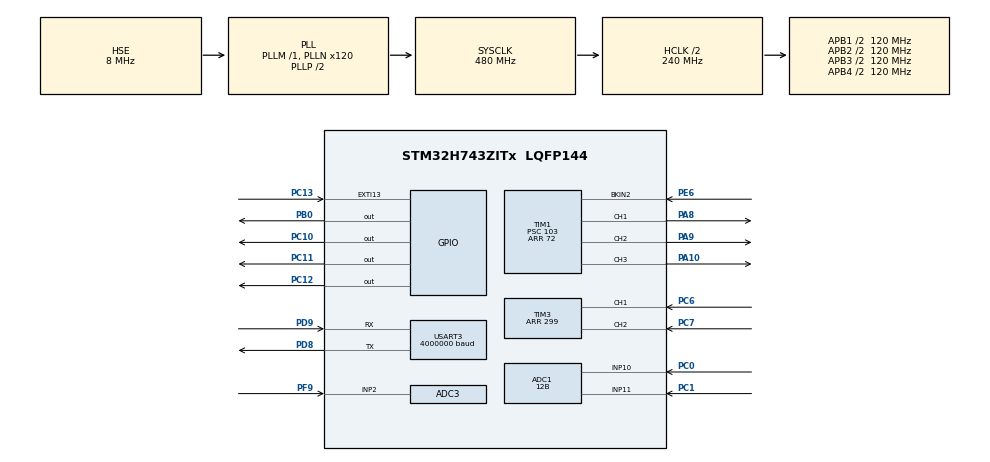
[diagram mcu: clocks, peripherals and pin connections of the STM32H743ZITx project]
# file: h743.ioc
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VP_STMicroelectronics.X-CUBE-AI_VS_ArtificialOoIntelligenceJjXAaCUBEAaAI_6.0.0.Mode=ArtificialOoIntelligenceJjXAaCUBEAaAI
Dma.USART3_RX.1.Mode=DMA_CIRCULAR
STMicroelectronics.X-CUBE-AI.6.0.0.MaximumSizeOfInputLayer=AI_NETWORK_IN_1_SIZE_BYTES
SH.ADCx_INP10.0=ADC1_INP10,IN10-Single-Ended
RCC.PLL2_VCI_Range-AdvancedSettings=RCC_PLL2VCIRANGE_0
NVIC.DMA1_Stream2_IRQn=true\:0\:0\:false\:false\:true\:false\:true
PC12.Signal=GPIO_Output
VP_STMicroelectronics.X-CUBE-AI_VS_DeviceJjApplication_6.0.0.Mode=DeviceJjApplication
Dma.ADC3.2.EventEnable=DISABLE
STMicroelectronics.X-CUBE-AI.6.0.0.StackSize=0x4000
RCC.SYSCLKSource=RCC_SYSCLKSOURCE_PLLCLK
USART3.VirtualMode-Asynchronous=VM_ASYNC
CORTEX_M7.Enable-Cortex_Memory_Protection_Unit_Region0_Settings=MPU_REGION_ENABLE
USART3.BaudRate=4000000
Dma.USART3_RX.1.Instance=DMA1_Stream1
Dma.ADC1.0.Direction=DMA_PERIPH_TO_MEMORY
STMicroelectronics.X-CUBE-AI.6.0.0.ValidationOutputFileHistory-b3ff6f7a2238a639f54eb102f1bc177b658880042a605020be7993b95e4e2cad=C\:\\Users\\Omkar\\Desktop\\Python\\validateY.csv
PC7.Signal=S_TIM3_CH2
PD8.Signal=USART3_TX
Dma.ADC1.0.MemDataAlignment=DMA_MDATAALIGN_WORD
NVIC.EXTI15_10_IRQn=true\:0\:0\:false\:true\:true\:2\:true\:true
TIM1.LockLevel=TIM_LOCKLEVEL_1
RCC.DIVM2=1
RCC.DIVM1=1
Dma.USART3_RX.1.SignalID=NONE
TIM1.Break2Polarity=TIM_BREAK2POLARITY_LOW
Dma.USART3_RX.1.SyncPolarity=HAL_DMAMUX_SYNC_NO_EVENT
Dma.USART3_RX.1.Priority=DMA_PRIORITY_LOW
TIM1.Channel-PWM\ Generation1\ CH1=TIM_CHANNEL_1
Dma.ADC1.0.PeriphInc=DMA_PINC_DISABLE
Dma.ADC3.2.Direction=DMA_PERIPH_TO_MEMORY
PC7.GPIO_ModeDefaultPP=GPIO_MODE_AF_PP
PA8.Signal=S_TIM1_CH1
VP_TIM1_VS_ClockSourceINT.Mode=Internal
ADC1.SamplingTime-0\#ChannelRegularConversion=ADC_SAMPLETIME_1CYCLE_5
Mcu.Package=LQFP144
Dma.USART3_RX.1.FIFOMode=DMA_FIFOMODE_DISABLE
Dma.USART3_RX.1.Direction=DMA_PERIPH_TO_MEMORY
ADC3.Rank-0\#ChannelRegularConversion=1
PA10.Signal=S_TIM1_CH3
PC6.GPIO_PuPd=GPIO_NOPULL
PC14-OSC32_IN\ (OSC32_IN).Mode=LSE-External-Oscillator
RCC.APB4Freq_Value=120000000
Dma.ADC1.0.FIFOMode=DMA_FIFOMODE_DISABLE
TIM1.Period=72
PE6.GPIO_PuPd=GPIO_PULLUP
PH0-OSC_IN\ (PH0).Mode=HSE-External-Oscillator
STMicroelectronics.X-CUBE-AI.6.0.0.ModelCompression-b3ff6f7a2238a639f54eb102f1bc177b658880042a605020be7993b95e4e2cad=1
CORTEX_M7.IsBufferable-Cortex_Memory_Protection_Unit_Region0_Settings=MPU_ACCESS_BUFFERABLE
Dma.ADC1.0.EventEnable=DISABLE
Dma.ADC1.0.Instance=DMA1_Stream0
RCC.DIVQ1=4
ADC1.Rank-0\#ChannelRegularConversion=1
Dma.ADC3.2.SyncEnable=DISABLE
TIM3.AutoReloadPreload=TIM_AUTORELOAD_PRELOAD_ENABLE
Dma.ADC1.0.SyncRequestNumber=1
TIM1.CounterMode=TIM_COUNTERMODE_CENTERALIGNED1
ADC1.OffsetNumber-0\#ChannelRegularConversion=ADC_OFFSET_NONE
PC13.Signal=GPXTI13
STMicroelectronics.X-CUBE-AI.6.0.0.MaximumSizeOfOutputLayer=AI_NETWORK_OUT_1_SIZE_BYTES
PC6.Signal=S_TIM3_CH1
Dma.USART3_RX.1.MemDataAlignment=DMA_MDATAALIGN_BYTE
PC0.Signal=ADCx_INP10
ADC3.Resolution=ADC_RESOLUTION_12B
Dma.ADC3.2.SyncSignalID=NONE
RCC.Tim2Mul=2
TIM1.AutoReloadPreload=TIM_AUTORELOAD_PRELOAD_ENABLE
STMicroelectronics.X-CUBE-AI.6.0.0.ModelHashList=b3ff6f7a2238a639f54eb102f1bc177b658880042a605020be7993b95e4e2cad
Dma.ADC1.0.SignalID=NONE
Dma.ADC1.0.Priority=DMA_PRIORITY_LOW
Dma.USART3_RX.1.EventEnable=DISABLE
PA9.Signal=S_TIM1_CH2
RCC.DIVN2=19
TIM1.Channel-PWM\ Generation2\ CH2=TIM_CHANNEL_2
RCC.DIVN1=120
Dma.ADC3.2.PeriphDataAlignment=DMA_PDATAALIGN_WORD
STMicroelectronics.X-CUBE-AI.6.0.0.WorkingBufferStartAddrList=0xFFFFFFFF
CORTEX_M7.BaseAddress-Cortex_Memory_Protection_Unit_Region0_Settings=0x24001000
STMicroelectronics.X-CUBE-AI.6.0.0.ModelNameList=network
PC7.GPIO_PuPd=GPIO_NOPULL
PD8.Mode=Asynchronous
ADC1.OffsetSignedSaturation-0\#ChannelRegularConversion=DISABLE
Dma.ADC3.2.Mode=DMA_CIRCULAR
PE6.Mode=Activate-Break-Input-2
CORTEX_M7.AccessPermission-Cortex_Memory_Protection_Unit_Region0_Settings=MPU_REGION_FULL_ACCESS
STMicroelectronics.X-CUBE-AI.6.0.0.ModelName-b3ff6f7a2238a639f54eb102f1bc177b658880042a605020be7993b95e4e2cad=network
STMicroelectronics.X-CUBE-AI.6.0.0.ModelActualCompression-b3ff6f7a2238a639f54eb102f1bc177b658880042a605020be7993b95e4e2cad=0.0
TIM1.Channel-PWM\ Generation4\ No\ Output=TIM_CHANNEL_4
NVIC.TIM1_CC_IRQn=true\:0\:0\:false\:true\:true\:3\:true\:true
ADC1.SamplingTime-1\#ChannelRegularConversion=ADC_SAMPLETIME_1CYCLE_5
ADC1.master=1
Dma.ADC3.2.PeriphInc=DMA_PINC_DISABLE
ADC1.Rank-1\#ChannelRegularConversion=2
Dma.ADC1.0.RequestNumber=1
STMicroelectronics.X-CUBE-AI.6.0.0.MaximumNumberOfInputLayer=1
NVIC.TIM1_BRK_IRQn=true\:0\:0\:false\:true\:true\:1\:true\:true
ProjectManager.HeapSize=0x8000
PF9.Signal=ADC3_INP2
Dma.USART3_RX.1.Polarity=HAL_DMAMUX_REQ_GEN_RISING
NVIC.PriorityGroup=NVIC_PRIORITYGROUP_4
RCC.USART234578CLockSelection=RCC_USART234578CLKSOURCE_HSI
TIM1.SourceBRK2DigInput=TIM_BREAKINPUTSOURCE_DISABLE
ADC1.ConversionDataManagement=ADC_CONVERSIONDATA_DMA_CIRCULAR
TIM1.Channel-PWM\ Generation3\ CH3=TIM_CHANNEL_3
PB0.Signal=GPIO_Output
PC1.Signal=ADCx_INP11
Dma.ADC3.2.SyncPolarity=HAL_DMAMUX_SYNC_NO_EVENT
STMicroelectronics.X-CUBE-AI.6.0.0.ValidationInputFile-b3ff6f7a2238a639f54eb102f1bc177b658880042a605020be7993b95e4e2cad=C\:\\Users\\Omkar\\Desktop\\Python\\validateX.csv
Mcu.Family=STM32H7
RCC.CortexFreq_Value=480000000
ADC1.Overrun=ADC_OVR_DATA_OVERWRITTEN
RCC.HPRE=RCC_HCLK_DIV2
Dma.ADC1.0.Polarity=HAL_DMAMUX_REQ_GEN_RISING
PH0-OSC_IN\ (PH0).Signal=RCC_OSC_IN
Dma.ADC3.2.Instance=DMA1_Stream2
PC10.Signal=GPIO_Output
PC15-OSC32_OUT\ (OSC32_OUT).Mode=LSE-External-Oscillator
RCC.PLL1_VCO_SEL-AdvancedSettings=RCC_PLL1VCOMEDIUM
Dma.ADC3.2.RequestNumber=1
ADC3.Channel-0\#ChannelRegularConversion=ADC_CHANNEL_2
PD9.Mode=Asynchronous
ProjectManager.StackSize=0x4000
Dma.ADC3.2.SignalID=NONE
TIM1.Prescaler=103
Dma.USART3_RX.1.MemInc=DMA_MINC_ENABLE
Dma.ADC3.2.Priority=DMA_PRIORITY_LOW
PC6.GPIO_ModeDefaultPP=GPIO_MODE_AF_PP
RCC.HCLKFreq_Value=240000000
ADC1.Resolution=ADC_RESOLUTION_12B
TIM3.Period=299
Dma.USART3_RX.1.PeriphDataAlignment=DMA_PDATAALIGN_BYTE
ADC1.Channel-0\#ChannelRegularConversion=ADC_CHANNEL_11
PH1-OSC_OUT\ (PH1).Mode=HSE-External-Oscillator
RCC.HSE_VALUE=8000000
STMicroelectronics.X-CUBE-AI.6.0.0.ValidationOutputFile-b3ff6f7a2238a639f54eb102f1bc177b658880042a605020be7993b95e4e2cad=C\:\\Users\\Omkar\\Desktop\\Python\\validateY.csv
PF9.Mode=IN2-Single-Ended
STMicroelectronics.X-CUBE-AI.6.0.0.XAaCUBEAaAICcArtificialOoIntelligenceJjCore=true
SH.S_TIM3_CH1.0=TIM3_CH1,Encoder_Interface
STMicroelectronics.X-CUBE-AI.6.0.0.ModelMacc-b3ff6f7a2238a639f54eb102f1bc177b658880042a605020be7993b95e4e2cad=441
CORTEX_M7.DisableExec-Cortex_Memory_Protection_Unit_Region0_Settings=MPU_INSTRUCTION_ACCESS_DISABLE
RCC.APB3Freq_Value=120000000
RCC.D1PPRE=RCC_APB3_DIV2
STMicroelectronics.X-CUBE-AI.6.0.0.LatestDirectoryUsed-b3ff6f7a2238a639f54eb102f1bc177b658880042a605020be7993b95e4e2cad=C\:\\Users\\Omkar\\Downloads
ADC1.OffsetNumber-1\#ChannelRegularConversion=ADC_OFFSET_NONE
ADC3.OffsetNumber-0\#ChannelRegularConversion=ADC_OFFSET_NONE
STMicroelectronics.X-CUBE-AI.6.0.0.ModelKind-b3ff6f7a2238a639f54eb102f1bc177b658880042a605020be7993b95e4e2cad=KERAS
ADC3.ClockPrescaler=ADC_CLOCK_ASYNC_DIV4
Dma.Request2=ADC3
Dma.Request1=USART3_RX
NVIC.DMA1_Stream0_IRQn=true\:0\:0\:false\:false\:true\:false\:true
ADC3.OffsetSignedSaturation-0\#ChannelRegularConversion=DISABLE
Dma.Request0=ADC1
RCC.PLLSourceVirtual=RCC_PLLSOURCE_HSE
Dma.ADC3.2.MemDataAlignment=DMA_MDATAALIGN_WORD
CORTEX_M7.CPU_ICache=Enabled
Dma.ADC3.2.Polarity=HAL_DMAMUX_REQ_GEN_RISING
Dma.ADC3.2.SyncRequestNumber=1
PC11.Signal=GPIO_Output
RCC.D2PPRE2=RCC_APB2_DIV2
RCC.D2PPRE1=RCC_APB1_DIV2
PD9.Signal=USART3_RX
NVIC.DMA1_Stream1_IRQn=true\:0\:0\:false\:true\:true\:4\:false\:true
Dma.USART3_RX.1.SyncRequestNumber=1
PH1-OSC_OUT\ (PH1).Signal=RCC_OSC_OUT
STMicroelectronics.X-CUBE-AI.6.0.0.ModelRamOccupation-b3ff6f7a2238a639f54eb102f1bc177b658880042a605020be7993b95e4e2cad=364
Dma.USART3_RX.1.SyncEnable=DISABLE
STMicroelectronics.X-CUBE-AI.6.0.0.ValidationInputFileHistory-b3ff6f7a2238a639f54eb102f1bc177b658880042a605020be7993b95e4e2cad=C\:\\Users\\Omkar\\Desktop\\Python\\validateX.csv
CORTEX_M7.MPU_Control=MPU_PRIVILEGED_DEFAULT
Dma.ADC1.0.PeriphDataAlignment=DMA_PDATAALIGN_WORD
ADC3.SamplingTime-0\#ChannelRegularConversion=ADC_SAMPLETIME_1CYCLE_5
SH.S_TIM1_CH1.0=TIM1_CH1,PWM Generation1 CH1
ProjectManager.TargetToolchain=STM32CubeIDE
PC15-OSC32_OUT\ (OSC32_OUT).Signal=RCC_OSC32_OUT
STMicroelectronics.X-CUBE-AI.6.0.0.InternalRamActivationBufferMaxSize=AI_NETWORK_DATA_ACTIVATIONS_SIZE
Dma.ADC1.0.Mode=DMA_CIRCULAR
STMicroelectronics.X-CUBE-AI.6.0.0.ModelType-b3ff6f7a2238a639f54eb102f1bc177b658880042a605020be7993b95e4e2cad=Saved model
STMicroelectronics.X-CUBE-AI.6.0.0.ModelStructureFile-b3ff6f7a2238a639f54eb102f1bc177b658880042a605020be7993b95e4e2cad=C\:\\Users\\Omkar\\Downloads\\my_model (10).h5
Dma.ADC1.0.SyncSignalID=NONE
ADC1.Channel-1\#ChannelRegularConversion=ADC_CHANNEL_10
RCC.USBFreq_Value=240000000
STMicroelectronics.X-CUBE-AI.6.0.0.MaximumNumberOfOutputLayer=1
TIM3.IC2Polarity=TIM_ICPOLARITY_FALLING
SH.S_TIM3_CH2.0=TIM3_CH2,Encoder_Interface
board=NUCLEO-H743ZI2
VP_TIM1_VS_no_output4.Mode=PWM Generation4 No Output
TIM1.Pulse-PWM\ Generation4\ No\ Output=72
Dma.ADC1.0.SyncPolarity=HAL_DMAMUX_SYNC_NO_EVENT
RCC.APB2Freq_Value=120000000
SH.S_TIM1_CH2.0=TIM1_CH2,PWM Generation2 CH2
CORTEX_M7.IsShareable-Cortex_Memory_Protection_Unit_Region0_Settings=MPU_ACCESS_SHAREABLE
RCC.ADCFreq_Value=76000000
Dma.ADC3.2.MemInc=DMA_MINC_ENABLE
PE6.Signal=TIM1_BKIN2
ADC1.NbrOfConversion=2
STMicroelectronics.X-CUBE-AI.6.0.0.ApplicationCcDeviceJjApplication=ApplicationTemplate
Mcu.Name=STM32H743ZITx
ADC3.ConversionDataManagement=ADC_CONVERSIONDATA_DMA_CIRCULAR
RCC.PLL3_VCI_Range-AdvancedSettings=RCC_PLL3VCIRANGE_0
CORTEX_M7.Size-Cortex_Memory_Protection_Unit_Region0_Settings=MPU_REGION_SIZE_64B
RCC.PLL3_VCO_SEL-AdvancedSettings=RCC_PLL3VCOMEDIUM
RCC.SYSCLKFreq_VALUE=480000000
Dma.USART3_RX.1.SyncSignalID=NONE
STMicroelectronics.X-CUBE-AI.6.0.0.ModelFlashOccupation-b3ff6f7a2238a639f54eb102f1bc177b658880042a605020be7993b95e4e2cad=1724
PC14-OSC32_IN\ (OSC32_IN).Signal=RCC_OSC32_IN
TIM3.IC1Polarity=TIM_ICPOLARITY_FALLING
Dma.ADC1.0.SyncEnable=DISABLE
Dma.ADC1.0.MemInc=DMA_MINC_ENABLE
STMicroelectronics.X-CUBE-AI.6.0.0.HeapSize=0x8000
SH.S_TIM1_CH3.0=TIM1_CH3,PWM Generation3 CH3
SH.ADCx_INP11.0=ADC1_INP11,IN11-Single-Ended
ADC1.NbrOfConversionFlag=1
Dma.USART3_RX.1.RequestNumber=1
RCC.D3PPRE=RCC_APB4_DIV2
CORTEX_M7.CPU_DCache=Enabled
RCC.APB1Freq_Value=120000000
ADC3.NbrOfConversionFlag=1
VP_CRC_VS_CRC.Mode=CRC_Activate
ADC1.ClockPrescaler=ADC_CLOCK_ASYNC_DIV4
STMicroelectronics.X-CUBE-AI.6.0.0.ActivationBufferSizeList=364
Dma.ADC3.2.FIFOMode=DMA_FIFOMODE_DISABLE
Dma.USART3_RX.1.PeriphInc=DMA_PINC_DISABLE

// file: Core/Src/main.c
/* USER CODE BEGIN Header */
/**
  ******************************************************************************
  * @file           : main.c
  * @brief          : Main program body
  ******************************************************************************
  * @attention
  *
  * <h2><center>&copy; Copyright (c) 2022 STMicroelectronics.
  * All rights reserved.</center></h2>
  *
  * This software component is licensed by ST under BSD 3-Clause license,
  * the "License"; You may not use this file except in compliance with the
  * License. You may obtain a copy of the License at:
  *                        opensource.org/licenses/BSD-3-Clause
  *
  ******************************************************************************
  */
/* USER CODE END Header */
#include "main.h"
#include "app_x-cube-ai.h"

/* USER CODE BEGIN Includes */
//#include "untitled0.h"
#include "untitled0.h"
/* USER CODE END Includes */

/* USER CODE BEGIN PD */
void initModelPredictiveControl();
void receiveUART();
void initANN();
/* USER CODE END PD */

ADC_HandleTypeDef hadc1;
ADC_HandleTypeDef hadc3;
DMA_HandleTypeDef hdma_adc1;
DMA_HandleTypeDef hdma_adc3;

CRC_HandleTypeDef hcrc;

TIM_HandleTypeDef htim1;
TIM_HandleTypeDef htim3;

UART_HandleTypeDef huart3;
DMA_HandleTypeDef hdma_usart3_rx;

void SystemClock_Config(void);
void PeriphCommonClock_Config(void);
static void MPU_Config(void);
static void MX_GPIO_Init(void);
static void MX_DMA_Init(void);
static void MX_TIM1_Init(void);
static void MX_ADC1_Init(void);
static void MX_ADC3_Init(void);
static void MX_USART3_UART_Init(void);
static void MX_TIM3_Init(void);
static void MX_CRC_Init(void);
static void MX_NVIC_Init(void);

int main(void)
{

  /* MPU Configuration--------------------------------------------------------*/
  MPU_Config();

  /* Enable I-Cache---------------------------------------------------------*/
  SCB_EnableICache();

  /* Enable D-Cache---------------------------------------------------------*/
  SCB_EnableDCache();

  /* MCU Configuration--------------------------------------------------------*/

  /* Reset of all peripherals, Initializes the Flash interface and the Systick. */
  HAL_Init();

  /* Configure the system clock */
  SystemClock_Config();

/* Configure the peripherals common clocks */
  PeriphCommonClock_Config();

  /* Initialize all configured peripherals */
  MX_GPIO_Init();
  MX_DMA_Init();
  MX_TIM1_Init();
  MX_ADC1_Init();
  MX_ADC3_Init();
  MX_USART3_UART_Init();
  MX_TIM3_Init();
  MX_CRC_Init();

  /* Initialize interrupts */
  MX_NVIC_Init();
  /* USER CODE BEGIN 2 */
//  untitled0_initialize();
//  Subsystem_initialize();

    initANN();

	HAL_TIM_Encoder_Start(&htim3, TIM_CHANNEL_ALL);

	initModelPredictiveControl();

	// Calibrate ADCs
	HAL_ADCEx_Calibration_Start(&hadc1, ADC_CALIB_OFFSET, ADC_SINGLE_ENDED);
	HAL_ADCEx_Calibration_Start(&hadc3, ADC_CALIB_OFFSET, ADC_SINGLE_ENDED);

	// Enable MOSFET drivers
	HAL_GPIO_WritePin(GPIOC, GPIO_PIN_10, 1);
	HAL_GPIO_WritePin(GPIOC, GPIO_PIN_11, 1);
	HAL_GPIO_WritePin(GPIOC, GPIO_PIN_12, 1);

	//	 Start timers
	HAL_TIM_PWM_Start_IT(&htim1, TIM_CHANNEL_4);
	HAL_TIM_PWM_Start(&htim1, TIM_CHANNEL_1);
	HAL_TIM_PWM_Start(&htim1, TIM_CHANNEL_2);
	HAL_TIM_PWM_Start(&htim1, TIM_CHANNEL_3);

	receiveUART();
  /* USER CODE END 2 */

  /* Infinite loop */
  while (1)
  {

  }
}

void SystemClock_Config(void)
{
  RCC_OscInitTypeDef RCC_OscInitStruct = {0};
  RCC_ClkInitTypeDef RCC_ClkInitStruct = {0};

  /** Supply configuration update enable
  */
  HAL_PWREx_ConfigSupply(PWR_LDO_SUPPLY);
  /** Configure the main internal regulator output voltage
  */
  __HAL_PWR_VOLTAGESCALING_CONFIG(PWR_REGULATOR_VOLTAGE_SCALE0);

  while(!__HAL_PWR_GET_FLAG(PWR_FLAG_VOSRDY)) {}
  /** Macro to configure the PLL clock source
  */
  __HAL_RCC_PLL_PLLSOURCE_CONFIG(RCC_PLLSOURCE_HSE);
  /** Initializes the RCC Oscillators according to the specified parameters
  * in the RCC_OscInitTypeDef structure.
  */
  RCC_OscInitStruct.OscillatorType = RCC_OSCILLATORTYPE_HSI|RCC_OSCILLATORTYPE_HSE;
  RCC_OscInitStruct.HSEState = RCC_HSE_ON;
  RCC_OscInitStruct.HSIState = RCC_HSI_DIV1;
  RCC_OscInitStruct.HSICalibrationValue = RCC_HSICALIBRATION_DEFAULT;
  RCC_OscInitStruct.PLL.PLLState = RCC_PLL_ON;
  RCC_OscInitStruct.PLL.PLLSource = RCC_PLLSOURCE_HSE;
  RCC_OscInitStruct.PLL.PLLM = 1;
  RCC_OscInitStruct.PLL.PLLN = 120;
  RCC_OscInitStruct.PLL.PLLP = 2;
  RCC_OscInitStruct.PLL.PLLQ = 4;
  RCC_OscInitStruct.PLL.PLLR = 2;
  RCC_OscInitStruct.PLL.PLLRGE = RCC_PLL1VCIRANGE_3;
  RCC_OscInitStruct.PLL.PLLVCOSEL = RCC_PLL1VCOWIDE;
  RCC_OscInitStruct.PLL.PLLFRACN = 0;
  if (HAL_RCC_OscConfig(&RCC_OscInitStruct) != HAL_OK)
  {
    Error_Handler();
  }
  /** Initializes the CPU, AHB and APB buses clocks
  */
  RCC_ClkInitStruct.ClockType = RCC_CLOCKTYPE_HCLK|RCC_CLOCKTYPE_SYSCLK
                              |RCC_CLOCKTYPE_PCLK1|RCC_CLOCKTYPE_PCLK2
                              |RCC_CLOCKTYPE_D3PCLK1|RCC_CLOCKTYPE_D1PCLK1;
  RCC_ClkInitStruct.SYSCLKSource = RCC_SYSCLKSOURCE_PLLCLK;
  RCC_ClkInitStruct.SYSCLKDivider = RCC_SYSCLK_DIV1;
  RCC_ClkInitStruct.AHBCLKDivider = RCC_HCLK_DIV2;
  RCC_ClkInitStruct.APB3CLKDivider = RCC_APB3_DIV2;
  RCC_ClkInitStruct.APB1CLKDivider = RCC_APB1_DIV2;
  RCC_ClkInitStruct.APB2CLKDivider = RCC_APB2_DIV2;
  RCC_ClkInitStruct.APB4CLKDivider = RCC_APB4_DIV2;

  if (HAL_RCC_ClockConfig(&RCC_ClkInitStruct, FLASH_LATENCY_4) != HAL_OK)
  {
    Error_Handler();
  }
}

void PeriphCommonClock_Config(void)
{
  RCC_PeriphCLKInitTypeDef PeriphClkInitStruct = {0};

  /** Initializes the peripherals clock
  */
  PeriphClkInitStruct.PeriphClockSelection = RCC_PERIPHCLK_ADC;
  PeriphClkInitStruct.PLL2.PLL2M = 1;
  PeriphClkInitStruct.PLL2.PLL2N = 19;
  PeriphClkInitStruct.PLL2.PLL2P = 2;
  PeriphClkInitStruct.PLL2.PLL2Q = 2;
  PeriphClkInitStruct.PLL2.PLL2R = 2;
  PeriphClkInitStruct.PLL2.PLL2RGE = RCC_PLL2VCIRANGE_3;
  PeriphClkInitStruct.PLL2.PLL2VCOSEL = RCC_PLL2VCOMEDIUM;
  PeriphClkInitStruct.PLL2.PLL2FRACN = 0;
  PeriphClkInitStruct.AdcClockSelection = RCC_ADCCLKSOURCE_PLL2;
  if (HAL_RCCEx_PeriphCLKConfig(&PeriphClkInitStruct) != HAL_OK)
  {
    Error_Handler();
  }
}

/**
  * @brief NVIC Configuration.
  * @retval None
  */
static void MX_NVIC_Init(void)
{
  /* TIM1_BRK_IRQn interrupt configuration */
  HAL_NVIC_SetPriority(TIM1_BRK_IRQn, 0, 0);
  HAL_NVIC_EnableIRQ(TIM1_BRK_IRQn);
  /* EXTI15_10_IRQn interrupt configuration */
  HAL_NVIC_SetPriority(EXTI15_10_IRQn, 0, 0);
  HAL_NVIC_EnableIRQ(EXTI15_10_IRQn);
  /* TIM1_CC_IRQn interrupt configuration */
  HAL_NVIC_SetPriority(TIM1_CC_IRQn, 0, 0);
  HAL_NVIC_EnableIRQ(TIM1_CC_IRQn);
  /* DMA1_Stream1_IRQn interrupt configuration */
  HAL_NVIC_SetPriority(DMA1_Stream1_IRQn, 0, 0);
  HAL_NVIC_EnableIRQ(DMA1_Stream1_IRQn);
}

static void MX_ADC1_Init(void)
{

  ADC_MultiModeTypeDef multimode = {0};
  ADC_ChannelConfTypeDef sConfig = {0};

  /** Common config
  */
  hadc1.Instance = ADC1;
  hadc1.Init.ClockPrescaler = ADC_CLOCK_ASYNC_DIV4;
  hadc1.Init.Resolution = ADC_RESOLUTION_12B;
  hadc1.Init.ScanConvMode = ADC_SCAN_ENABLE;
  hadc1.Init.EOCSelection = ADC_EOC_SINGLE_CONV;
  hadc1.Init.LowPowerAutoWait = DISABLE;
  hadc1.Init.ContinuousConvMode = DISABLE;
  hadc1.Init.NbrOfConversion = 2;
  hadc1.Init.DiscontinuousConvMode = DISABLE;
  hadc1.Init.ExternalTrigConv = ADC_SOFTWARE_START;
  hadc1.Init.ExternalTrigConvEdge = ADC_EXTERNALTRIGCONVEDGE_NONE;
  hadc1.Init.ConversionDataManagement = ADC_CONVERSIONDATA_DMA_CIRCULAR;
  hadc1.Init.Overrun = ADC_OVR_DATA_OVERWRITTEN;
  hadc1.Init.LeftBitShift = ADC_LEFTBITSHIFT_NONE;
  hadc1.Init.OversamplingMode = DISABLE;
  if (HAL_ADC_Init(&hadc1) != HAL_OK)
  {
    Error_Handler();
  }
  /** Configure the ADC multi-mode
  */
  multimode.Mode = ADC_MODE_INDEPENDENT;
  if (HAL_ADCEx_MultiModeConfigChannel(&hadc1, &multimode) != HAL_OK)
  {
    Error_Handler();
  }
  /** Configure Regular Channel
  */
  sConfig.Channel = ADC_CHANNEL_11;
  sConfig.Rank = ADC_REGULAR_RANK_1;
  sConfig.SamplingTime = ADC_SAMPLETIME_1CYCLE_5;
  sConfig.SingleDiff = ADC_SINGLE_ENDED;
  sConfig.OffsetNumber = ADC_OFFSET_NONE;
  sConfig.Offset = 0;
  sConfig.OffsetSignedSaturation = DISABLE;
  if (HAL_ADC_ConfigChannel(&hadc1, &sConfig) != HAL_OK)
  {
    Error_Handler();
  }
  /** Configure Regular Channel
  */
  sConfig.Channel = ADC_CHANNEL_10;
  sConfig.Rank = ADC_REGULAR_RANK_2;
  if (HAL_ADC_ConfigChannel(&hadc1, &sConfig) != HAL_OK)
  {
    Error_Handler();
  }

}

static void MX_ADC3_Init(void)
{

  ADC_ChannelConfTypeDef sConfig = {0};

  /** Common config
  */
  hadc3.Instance = ADC3;
  hadc3.Init.ClockPrescaler = ADC_CLOCK_ASYNC_DIV4;
  hadc3.Init.Resolution = ADC_RESOLUTION_12B;
  hadc3.Init.ScanConvMode = ADC_SCAN_DISABLE;
  hadc3.Init.EOCSelection = ADC_EOC_SINGLE_CONV;
  hadc3.Init.LowPowerAutoWait = DISABLE;
  hadc3.Init.ContinuousConvMode = DISABLE;
  hadc3.Init.NbrOfConversion = 1;
  hadc3.Init.DiscontinuousConvMode = DISABLE;
  hadc3.Init.ExternalTrigConv = ADC_SOFTWARE_START;
  hadc3.Init.ExternalTrigConvEdge = ADC_EXTERNALTRIGCONVEDGE_NONE;
  hadc3.Init.ConversionDataManagement = ADC_CONVERSIONDATA_DMA_CIRCULAR;
  hadc3.Init.Overrun = ADC_OVR_DATA_PRESERVED;
  hadc3.Init.LeftBitShift = ADC_LEFTBITSHIFT_NONE;
  hadc3.Init.OversamplingMode = DISABLE;
  if (HAL_ADC_Init(&hadc3) != HAL_OK)
  {
    Error_Handler();
  }
  /** Configure Regular Channel
  */
  sConfig.Channel = ADC_CHANNEL_2;
  sConfig.Rank = ADC_REGULAR_RANK_1;
  sConfig.SamplingTime = ADC_SAMPLETIME_1CYCLE_5;
  sConfig.SingleDiff = ADC_SINGLE_ENDED;
  sConfig.OffsetNumber = ADC_OFFSET_NONE;
  sConfig.Offset = 0;
  sConfig.OffsetSignedSaturation = DISABLE;
  if (HAL_ADC_ConfigChannel(&hadc3, &sConfig) != HAL_OK)
  {
    Error_Handler();
  }

}

static void MX_CRC_Init(void)
{

  hcrc.Instance = CRC;
  hcrc.Init.DefaultPolynomialUse = DEFAULT_POLYNOMIAL_ENABLE;
  hcrc.Init.DefaultInitValueUse = DEFAULT_INIT_VALUE_ENABLE;
  hcrc.Init.InputDataInversionMode = CRC_INPUTDATA_INVERSION_NONE;
  hcrc.Init.OutputDataInversionMode = CRC_OUTPUTDATA_INVERSION_DISABLE;
  hcrc.InputDataFormat = CRC_INPUTDATA_FORMAT_BYTES;
  if (HAL_CRC_Init(&hcrc) != HAL_OK)
  {
    Error_Handler();
  }

}

static void MX_TIM1_Init(void)
{

  TIM_ClockConfigTypeDef sClockSourceConfig = {0};
  TIM_MasterConfigTypeDef sMasterConfig = {0};
  TIM_OC_InitTypeDef sConfigOC = {0};
  TIM_BreakDeadTimeConfigTypeDef sBreakDeadTimeConfig = {0};

  htim1.Instance = TIM1;
  htim1.Init.Prescaler = 103;
  htim1.Init.CounterMode = TIM_COUNTERMODE_CENTERALIGNED1;
  htim1.Init.Period = 72;
  htim1.Init.ClockDivision = TIM_CLOCKDIVISION_DIV1;
  htim1.Init.RepetitionCounter = 0;
  htim1.Init.AutoReloadPreload = TIM_AUTORELOAD_PRELOAD_ENABLE;
  if (HAL_TIM_Base_Init(&htim1) != HAL_OK)
  {
    Error_Handler();
  }
  sClockSourceConfig.ClockSource = TIM_CLOCKSOURCE_INTERNAL;
  if (HAL_TIM_ConfigClockSource(&htim1, &sClockSourceConfig) != HAL_OK)
  {
    Error_Handler();
  }
  if (HAL_TIM_PWM_Init(&htim1) != HAL_OK)
  {
    Error_Handler();
  }
  sMasterConfig.MasterOutputTrigger = TIM_TRGO_RESET;
  sMasterConfig.MasterOutputTrigger2 = TIM_TRGO2_RESET;
  sMasterConfig.MasterSlaveMode = TIM_MASTERSLAVEMODE_DISABLE;
  if (HAL_TIMEx_MasterConfigSynchronization(&htim1, &sMasterConfig) != HAL_OK)
  {
    Error_Handler();
  }
  sConfigOC.OCMode = TIM_OCMODE_PWM1;
  sConfigOC.Pulse = 0;
  sConfigOC.OCPolarity = TIM_OCPOLARITY_HIGH;
  sConfigOC.OCNPolarity = TIM_OCNPOLARITY_HIGH;
  sConfigOC.OCFastMode = TIM_OCFAST_DISABLE;
  sConfigOC.OCIdleState = TIM_OCIDLESTATE_RESET;
  sConfigOC.OCNIdleState = TIM_OCNIDLESTATE_RESET;
  if (HAL_TIM_PWM_ConfigChannel(&htim1, &sConfigOC, TIM_CHANNEL_1) != HAL_OK)
  {
    Error_Handler();
  }
  if (HAL_TIM_PWM_ConfigChannel(&htim1, &sConfigOC, TIM_CHANNEL_2) != HAL_OK)
  {
    Error_Handler();
  }
  if (HAL_TIM_PWM_ConfigChannel(&htim1, &sConfigOC, TIM_CHANNEL_3) != HAL_OK)
  {
    Error_Handler();
  }
  sConfigOC.Pulse = 72;
  if (HAL_TIM_PWM_ConfigChannel(&htim1, &sConfigOC, TIM_CHANNEL_4) != HAL_OK)
  {
    Error_Handler();
  }
  sBreakDeadTimeConfig.OffStateRunMode = TIM_OSSR_ENABLE;
  sBreakDeadTimeConfig.OffStateIDLEMode = TIM_OSSI_ENABLE;
  sBreakDeadTimeConfig.LockLevel = TIM_LOCKLEVEL_1;
  sBreakDeadTimeConfig.DeadTime = 0;
  sBreakDeadTimeConfig.BreakState = TIM_BREAK_DISABLE;
  sBreakDeadTimeConfig.BreakPolarity = TIM_BREAKPOLARITY_HIGH;
  sBreakDeadTimeConfig.BreakFilter = 0;
  sBreakDeadTimeConfig.Break2State = TIM_BREAK2_ENABLE;
  sBreakDeadTimeConfig.Break2Polarity = TIM_BREAK2POLARITY_LOW;
  sBreakDeadTimeConfig.Break2Filter = 0;
  sBreakDeadTimeConfig.AutomaticOutput = TIM_AUTOMATICOUTPUT_DISABLE;
  if (HAL_TIMEx_ConfigBreakDeadTime(&htim1, &sBreakDeadTimeConfig) != HAL_OK)
  {
    Error_Handler();
  }
  HAL_TIM_MspPostInit(&htim1);

}

static void MX_TIM3_Init(void)
{

  TIM_Encoder_InitTypeDef sConfig = {0};
  TIM_MasterConfigTypeDef sMasterConfig = {0};

  htim3.Instance = TIM3;
  htim3.Init.Prescaler = 0;
  htim3.Init.CounterMode = TIM_COUNTERMODE_UP;
  htim3.Init.Period = 299;
  htim3.Init.ClockDivision = TIM_CLOCKDIVISION_DIV1;
  htim3.Init.AutoReloadPreload = TIM_AUTORELOAD_PRELOAD_ENABLE;
  sConfig.EncoderMode = TIM_ENCODERMODE_TI1;
  sConfig.IC1Polarity = TIM_ICPOLARITY_FALLING;
  sConfig.IC1Selection = TIM_ICSELECTION_DIRECTTI;
  sConfig.IC1Prescaler = TIM_ICPSC_DIV1;
  sConfig.IC1Filter = 0;
  sConfig.IC2Polarity = TIM_ICPOLARITY_FALLING;
  sConfig.IC2Selection = TIM_ICSELECTION_DIRECTTI;
  sConfig.IC2Prescaler = TIM_ICPSC_DIV1;
  sConfig.IC2Filter = 0;
  if (HAL_TIM_Encoder_Init(&htim3, &sConfig) != HAL_OK)
  {
    Error_Handler();
  }
  sMasterConfig.MasterOutputTrigger = TIM_TRGO_RESET;
  sMasterConfig.MasterSlaveMode = TIM_MASTERSLAVEMODE_DISABLE;
  if (HAL_TIMEx_MasterConfigSynchronization(&htim3, &sMasterConfig) != HAL_OK)
  {
    Error_Handler();
  }

}

static void MX_USART3_UART_Init(void)
{

  huart3.Instance = USART3;
  huart3.Init.BaudRate = 4000000;
  huart3.Init.WordLength = UART_WORDLENGTH_8B;
  huart3.Init.StopBits = UART_STOPBITS_1;
  huart3.Init.Parity = UART_PARITY_NONE;
  huart3.Init.Mode = UART_MODE_TX_RX;
  huart3.Init.HwFlowCtl = UART_HWCONTROL_NONE;
  huart3.Init.OverSampling = UART_OVERSAMPLING_16;
  huart3.Init.OneBitSampling = UART_ONE_BIT_SAMPLE_DISABLE;
  huart3.Init.ClockPrescaler = UART_PRESCALER_DIV1;
  huart3.AdvancedInit.AdvFeatureInit = UART_ADVFEATURE_NO_INIT;
  if (HAL_UART_Init(&huart3) != HAL_OK)
  {
    Error_Handler();
  }
  if (HAL_UARTEx_SetTxFifoThreshold(&huart3, UART_TXFIFO_THRESHOLD_1_8) != HAL_OK)
  {
    Error_Handler();
  }
  if (HAL_UARTEx_SetRxFifoThreshold(&huart3, UART_RXFIFO_THRESHOLD_1_8) != HAL_OK)
  {
    Error_Handler();
  }
  if (HAL_UARTEx_DisableFifoMode(&huart3) != HAL_OK)
  {
    Error_Handler();
  }

}

static void MX_DMA_Init(void)
{

  /* DMA controller clock enable */
  __HAL_RCC_DMA1_CLK_ENABLE();

  /* DMA interrupt init */
  /* DMA1_Stream0_IRQn interrupt configuration */
  HAL_NVIC_SetPriority(DMA1_Stream0_IRQn, 0, 0);
  HAL_NVIC_EnableIRQ(DMA1_Stream0_IRQn);
  /* DMA1_Stream2_IRQn interrupt configuration */
  HAL_NVIC_SetPriority(DMA1_Stream2_IRQn, 0, 0);
  HAL_NVIC_EnableIRQ(DMA1_Stream2_IRQn);

}

static void MX_GPIO_Init(void)
{
  GPIO_InitTypeDef GPIO_InitStruct = {0};

  /* GPIO Ports Clock Enable */
  __HAL_RCC_GPIOE_CLK_ENABLE();
  __HAL_RCC_GPIOC_CLK_ENABLE();
  __HAL_RCC_GPIOF_CLK_ENABLE();
  __HAL_RCC_GPIOH_CLK_ENABLE();
  __HAL_RCC_GPIOB_CLK_ENABLE();
  __HAL_RCC_GPIOD_CLK_ENABLE();
  __HAL_RCC_GPIOA_CLK_ENABLE();

  /*Configure GPIO pin Output Level */
  HAL_GPIO_WritePin(GPIOB, GPIO_PIN_0, GPIO_PIN_RESET);

  /*Configure GPIO pin Output Level */
  HAL_GPIO_WritePin(GPIOC, GPIO_PIN_10|GPIO_PIN_11|GPIO_PIN_12, GPIO_PIN_RESET);

  /*Configure GPIO pin : PC13 */
  GPIO_InitStruct.Pin = GPIO_PIN_13;
  GPIO_InitStruct.Mode = GPIO_MODE_IT_RISING;
  GPIO_InitStruct.Pull = GPIO_NOPULL;
  HAL_GPIO_Init(GPIOC, &GPIO_InitStruct);

  /*Configure GPIO pin : PB0 */
  GPIO_InitStruct.Pin = GPIO_PIN_0;
  GPIO_InitStruct.Mode = GPIO_MODE_OUTPUT_PP;
  GPIO_InitStruct.Pull = GPIO_NOPULL;
  GPIO_InitStruct.Speed = GPIO_SPEED_FREQ_LOW;
  HAL_GPIO_Init(GPIOB, &GPIO_InitStruct);

  /*Configure GPIO pins : PC10 PC11 PC12 */
  GPIO_InitStruct.Pin = GPIO_PIN_10|GPIO_PIN_11|GPIO_PIN_12;
  GPIO_InitStruct.Mode = GPIO_MODE_OUTPUT_PP;
  GPIO_InitStruct.Pull = GPIO_NOPULL;
  GPIO_InitStruct.Speed = GPIO_SPEED_FREQ_LOW;
  HAL_GPIO_Init(GPIOC, &GPIO_InitStruct);

}

/* MPU Configuration */

void MPU_Config(void)
{
  MPU_Region_InitTypeDef MPU_InitStruct = {0};

  /* Disables the MPU */
  HAL_MPU_Disable();
  /** Initializes and configures the Region and the memory to be protected
  */
  MPU_InitStruct.Enable = MPU_REGION_ENABLE;
  MPU_InitStruct.Number = MPU_REGION_NUMBER0;
  MPU_InitStruct.BaseAddress = 0x24001000;
  MPU_InitStruct.Size = MPU_REGION_SIZE_64B;
  MPU_InitStruct.SubRegionDisable = 0x0;
  MPU_InitStruct.TypeExtField = MPU_TEX_LEVEL0;
  MPU_InitStruct.AccessPermission = MPU_REGION_FULL_ACCESS;
  MPU_InitStruct.DisableExec = MPU_INSTRUCTION_ACCESS_DISABLE;
  MPU_InitStruct.IsShareable = MPU_ACCESS_SHAREABLE;
  MPU_InitStruct.IsCacheable = MPU_ACCESS_NOT_CACHEABLE;
  MPU_InitStruct.IsBufferable = MPU_ACCESS_BUFFERABLE;

  HAL_MPU_ConfigRegion(&MPU_InitStruct);
  /* Enables the MPU */
  HAL_MPU_Enable(MPU_PRIVILEGED_DEFAULT);

}

void Error_Handler(void)
{
  __disable_irq();
  while (1)
  {
  }
}

/************************ (C) COPYRIGHT STMicroelectronics *****END OF FILE****/
